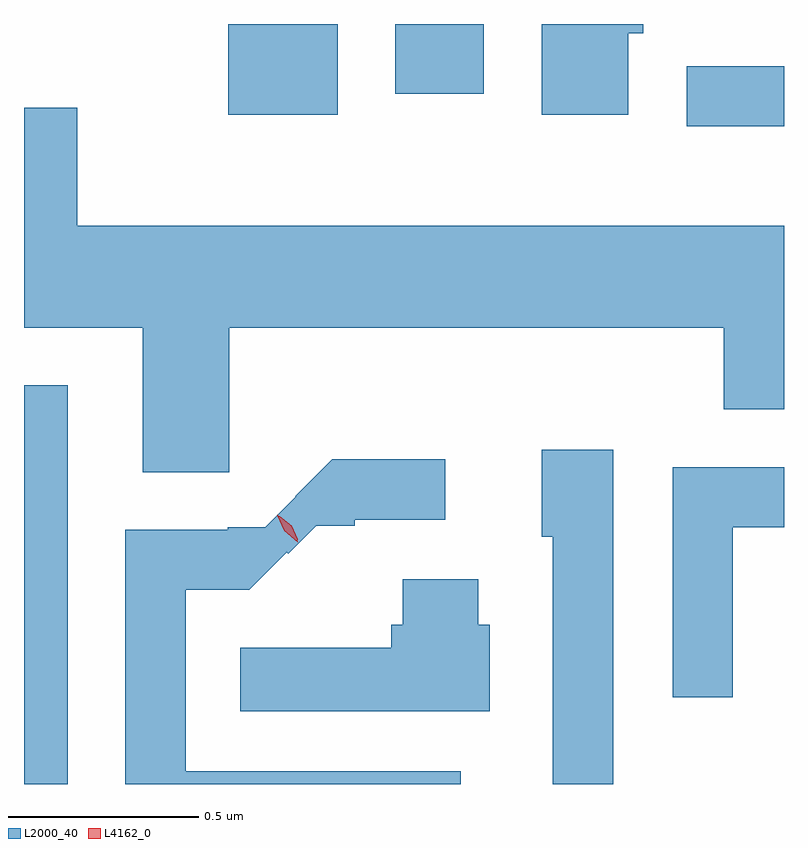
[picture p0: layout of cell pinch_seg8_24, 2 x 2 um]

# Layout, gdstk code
import gdstk
lib = gdstk.Library(unit=1e-6, precision=1e-09)
def R(c, l, rs):  # rectangles x0, y0, x1, y1
    for r in rs: c.add(gdstk.rectangle(r[:2], r[2:], *l))
def P(c, l, *ps):  # polygons
    for p in ps: c.add(gdstk.Polygon(p, *l))
L2000_40 = (2000, 40)
L4162_0 = (4162, 0)

pinch_seg8_24 = lib.new_cell('pinch_seg8_24')
R(pinch_seg8_24, L2000_40, [(1128.939,1826.335,1129.054,1827.384), (1130.683,1828.066,1130.939,1828.224), (1129.476,1828.096,1129.764,1828.335), (1129.916,1828.151,1130.149,1828.335)])
P(pinch_seg8_24, L2000_40, [(1130.529,1828.311),(1130.569,1828.311),(1130.569,1828.335),(1130.301,1828.335),(1130.301,1828.096),(1130.529,1828.096)],
  [(1129.479,1827.536),(1130.781,1827.536),(1130.781,1827.321),(1130.939,1827.321),(1130.939,1827.804),(1129.079,1827.804),(1129.079,1828.114),(1128.939,1828.114),(1128.939,1827.536),(1129.251,1827.536),(1129.251,1827.156),(1129.479,1827.156)],
  [(1130.489,1827.214),(1130.301,1827.214),(1130.301,1826.986),(1130.331,1826.986),(1130.331,1826.335),(1130.489,1826.335)],
  [(1130.088,1826.369),(1129.364,1826.369),(1129.364,1826.846),(1129.532,1826.846),(1129.631,1826.945),(1129.634,1826.941),(1129.708,1827.015),(1129.809,1827.015),(1129.809,1827.031),(1130.048,1827.031),(1130.048,1827.189),(1129.75,1827.189),(1129.653,1827.092),(1129.654,1827.091),(1129.574,1827.011),(1129.475,1827.011),(1129.475,1827.004),(1129.206,1827.004),(1129.206,1826.335),(1130.088,1826.335)],
  [(1130.804,1827.011),(1130.939,1827.011),(1130.939,1827.169),(1130.646,1827.169),(1130.646,1826.563),(1130.804,1826.563)],
  [(1130.164,1826.754),(1130.134,1826.754),(1130.134,1826.874),(1129.936,1826.874),(1129.936,1826.754),(1129.906,1826.754),(1129.906,1826.694),(1129.508,1826.694),(1129.508,1826.526),(1130.164,1826.526)])
P(pinch_seg8_24, L4162_0, [(1129.659,1826.971),(1129.624,1827.001),(1129.606,1827.042),(1129.606,1827.043),(1129.606,1827.043),(1129.641,1827.013),(1129.659,1826.972),(1129.659,1826.971)],
  [(1129.658,1826.978),(1129.627,1827.003),(1129.611,1827.039),(1129.611,1827.04),(1129.612,1827.04),(1129.643,1827.015),(1129.659,1826.979),(1129.659,1826.978)])

lib.write_gds('pinch_seg8_24.gds')
